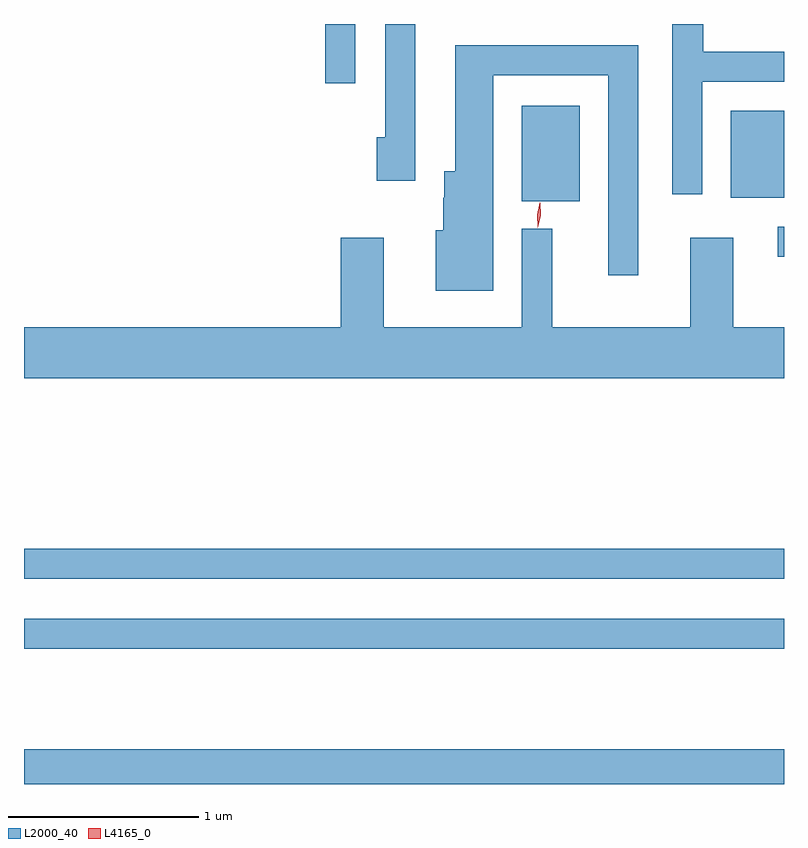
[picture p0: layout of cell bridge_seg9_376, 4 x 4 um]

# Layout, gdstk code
import gdstk
lib = gdstk.Library(unit=1e-6, precision=1e-09)
def R(c, l, rs):  # rectangles x0, y0, x1, y1
    for r in rs: c.add(gdstk.rectangle(r[:2], r[2:], *l))
def P(c, l, *ps):  # polygons
    for p in ps: c.add(gdstk.Polygon(p, *l))
L2000_40 = (2000, 40)
L4165_0 = (4165, 0)

bridge_seg9_376 = lib.new_cell('bridge_seg9_376')
R(bridge_seg9_376, L2000_40, [(1014.815,1954.16,1018.815,1954.344), (1014.815,1954.871,1018.815,1955.029), (1014.815,1955.241,1018.815,1955.399), (1018.783,1956.936,1018.815,1957.094), (1017.436,1957.226,1017.739,1957.729), (1018.536,1957.246,1018.815,1957.704), (1016.401,1957.848,1016.559,1958.16), (1018.541,1958.158,1018.699,1958.16)])
P(bridge_seg9_376, L2000_40, [(1016.874,1958.16),(1016.716,1958.16),(1016.716,1957.564),(1016.671,1957.564),(1016.671,1957.336),(1016.874,1957.336)],
  [(1018.384,1957.856),(1018.815,1957.856),(1018.815,1958.014),(1018.389,1958.014),(1018.389,1958.16),(1018.226,1958.16),(1018.226,1957.263),(1018.384,1957.263)],
  [(1017.284,1957.891),(1017.891,1957.891),(1017.891,1956.838),(1018.049,1956.838),(1018.049,1958.049),(1017.086,1958.049),(1017.086,1957.384),(1017.026,1957.384),(1017.026,1957.245),(1017.021,1957.245),(1017.021,1957.074),(1016.981,1957.074),(1016.981,1956.756),(1017.284,1956.756)],
  [(1018.815,1956.564),(1018.549,1956.564),(1018.549,1957.034),(1018.321,1957.034),(1018.321,1956.564),(1017.594,1956.564),(1017.594,1957.083),(1017.436,1957.083),(1017.436,1956.564),(1016.709,1956.564),(1016.709,1957.034),(1016.481,1957.034),(1016.481,1956.564),(1014.815,1956.564),(1014.815,1956.296),(1018.815,1956.296)])
P(bridge_seg9_376, L4165_0, [(1017.519,1957.088),(1017.515,1957.155),(1017.53,1957.22),(1017.53,1957.22),(1017.531,1957.22),(1017.535,1957.153),(1017.52,1957.088),(1017.52,1957.088)])

lib.write_gds('bridge_seg9_376.gds')
